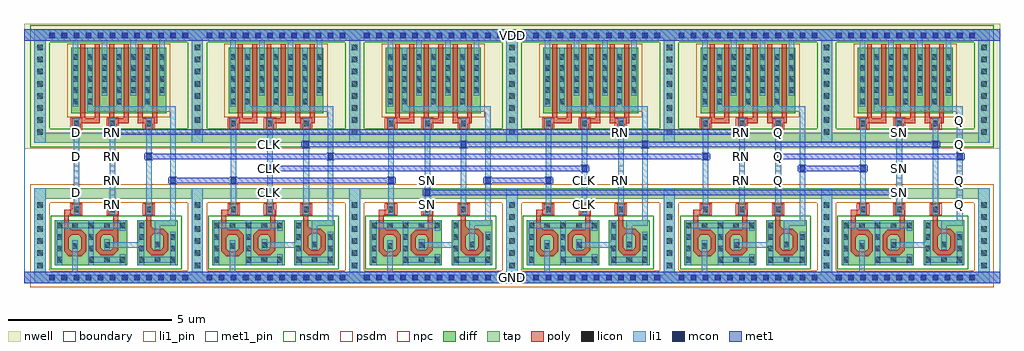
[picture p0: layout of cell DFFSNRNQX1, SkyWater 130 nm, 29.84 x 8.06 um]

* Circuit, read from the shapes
.subckt DFFSNRNQX1 CLK D GND Q RN SN VDD
XM1 n1 D GND GND sky130_fd_pr__nfet_01v8 w=2.6 l=0.1471
XM2 n1 RN n2 GND sky130_fd_pr__nfet_01v8 w=2.52 l=0.1477
XM3 n2 n3 n4 GND sky130_fd_pr__nfet_01v8 w=2.56 l=0.1472
XM4 n5 n4 GND GND sky130_fd_pr__nfet_01v8 w=2.6 l=0.1481
XM5 n5 CLK n6 GND sky130_fd_pr__nfet_01v8 w=2.52 l=0.1477
XM6 n6 n7 n3 GND sky130_fd_pr__nfet_01v8 w=2.56 l=0.147
XM7 n8 n4 GND GND sky130_fd_pr__nfet_01v8 w=2.6 l=0.1474
XM8 n8 SN n9 GND sky130_fd_pr__nfet_01v8 w=2.52 l=0.1477
XM9 n9 n7 n10 GND sky130_fd_pr__nfet_01v8 w=2.56 l=0.1472
XM10 n11 n10 GND GND sky130_fd_pr__nfet_01v8 w=2.6 l=0.1475
XM11 n11 CLK n12 GND sky130_fd_pr__nfet_01v8 w=2.52 l=0.1477
XM12 n12 RN n7 GND sky130_fd_pr__nfet_01v8 w=2.56 l=0.1472
XM13 n13 n3 GND GND sky130_fd_pr__nfet_01v8 w=2.6 l=0.1475
XM14 n13 RN n14 GND sky130_fd_pr__nfet_01v8 w=2.52 l=0.1477
XM15 n14 Q n15 GND sky130_fd_pr__nfet_01v8 w=2.56 l=0.1472
XM16 n16 n15 GND GND sky130_fd_pr__nfet_01v8 w=2.6 l=0.148
XM17 n16 SN n17 GND sky130_fd_pr__nfet_01v8 w=2.52 l=0.1477
XM18 n17 n7 Q GND sky130_fd_pr__nfet_01v8 w=2.56 l=0.1472
XM19 n4 D VDD VDD sky130_fd_pr__pfet_01v8 w=2 l=0.15 m=2
XM20 n4 RN VDD VDD sky130_fd_pr__pfet_01v8 w=2 l=0.15 m=2
XM21 n4 n3 VDD VDD sky130_fd_pr__pfet_01v8 w=2 l=0.15 m=2
XM22 n3 n4 VDD VDD sky130_fd_pr__pfet_01v8 w=2 l=0.15 m=2
XM23 n3 CLK VDD VDD sky130_fd_pr__pfet_01v8 w=2 l=0.15 m=2
XM24 n3 n7 VDD VDD sky130_fd_pr__pfet_01v8 w=2 l=0.15 m=2
XM25 n10 n4 VDD VDD sky130_fd_pr__pfet_01v8 w=2 l=0.15 m=2
XM26 n10 SN VDD VDD sky130_fd_pr__pfet_01v8 w=2 l=0.15 m=2
XM27 n10 n7 VDD VDD sky130_fd_pr__pfet_01v8 w=2 l=0.15 m=2
XM28 n7 n10 VDD VDD sky130_fd_pr__pfet_01v8 w=2 l=0.15 m=2
XM29 n7 CLK VDD VDD sky130_fd_pr__pfet_01v8 w=2 l=0.15 m=2
XM30 n7 RN VDD VDD sky130_fd_pr__pfet_01v8 w=2 l=0.15 m=2
XM31 n15 n3 VDD VDD sky130_fd_pr__pfet_01v8 w=2 l=0.15 m=2
XM32 n15 RN VDD VDD sky130_fd_pr__pfet_01v8 w=2 l=0.15 m=2
XM33 n15 Q VDD VDD sky130_fd_pr__pfet_01v8 w=2 l=0.15 m=2
XM34 Q n15 VDD VDD sky130_fd_pr__pfet_01v8 w=2 l=0.15 m=2
XM35 Q SN VDD VDD sky130_fd_pr__pfet_01v8 w=2 l=0.15 m=2
XM36 Q n7 VDD VDD sky130_fd_pr__pfet_01v8 w=2 l=0.15 m=2
.ends

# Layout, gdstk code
from math import pi, radians
import gdstk
lib = gdstk.Library(unit=1e-6, precision=1e-09)
def R(c, l, rs):  # rectangles x0, y0, x1, y1
    for r in rs: c.add(gdstk.rectangle(r[:2], r[2:], *l))
def A(c, l, x, y, w, h, nx, ny, dx, dy):  # array of equal rectangles
    R(c, l, [(x+i*dx, y+j*dy, x+i*dx+w, y+j*dy+h) for i in range(nx) for j in range(ny)])
def P(c, l, *ps):  # polygons
    for p in ps: c.add(gdstk.Polygon(p, *l))
nwell = (64, 20)
diff = (65, 20)
tap = (65, 44)
poly = (66, 20)
licon = (66, 44)
li1_pin = (67, 16)
li1 = (67, 20)
mcon = (67, 44)
met1_pin = (68, 16)
met1 = (68, 20)
nsdm = (93, 44)
psdm = (94, 20)
npc = (95, 20)
boundary = (235, 4)

li1_m1_contact = lib.new_cell('li1_M1_contact')
R(li1_m1_contact, li1, [(-0.085,-0.165,0.085,0.165)])
R(li1_m1_contact, mcon, [(-0.085,-0.085,0.085,0.085)])
R(li1_m1_contact, met1, [(-0.115,-0.115,0.115,-0.085), (-0.265,-0.085,0.145,0.085), (-0.115,0.085,0.115,0.115)])

diff_ring_side = lib.new_cell('diff_ring_side')
R(diff_ring_side, nwell, [(-0.435,3.93,0.435,7.75)])
R(diff_ring_side, tap, [(-0.17,-0.17,0.17,2.72), (-0.17,4.11,0.17,7.57)])
A(diff_ring_side, licon, -0.085, 0.285, 0.17, 0.17, 1, 6, 0, 0.37)
A(diff_ring_side, licon, -0.085, 4.355, 0.17, 0.17, 1, 8, 0, 0.37)
R(diff_ring_side, li1, [(-0.17,-0.17,0.17,2.72), (-0.17,4.11,0.17,7.57)])
R(diff_ring_side, met1, [(-0.17,-0.17,0.17,0.17), (-0.17,7.23,0.17,7.57)])
R(diff_ring_side, nsdm, [(-0.295,3.985,0.295,7.695)])
R(diff_ring_side, psdm, [(-0.295,-0.295,0.295,2.845)])

nmos_bottom = lib.new_cell('nmos_bottom')
R(nmos_bottom, diff, [(0,0,1.24,1.38)])
R(nmos_bottom, poly, [(0.43,0.27,0.81,0.42), (0.28,0.42,0.43,0.925), (0.81,0.42,0.96,0.925), (0.43,0.925,0.96,1.075), (0.81,1.075,0.96,1.51)])
P(nmos_bottom, poly, [(0.73,1.075),(0.81,1.075),(0.81,1.155)],
  [(0.28,0.925),(0.43,0.925),(0.43,1.075)],
  [(0.43,0.845),(0.43,0.925),(0.51,0.925)],
  [(0.73,0.925),(0.81,0.925),(0.81,0.845)],
  [(0.43,0.5),(0.43,0.42),(0.51,0.42)],
  [(0.73,0.42),(0.81,0.42),(0.81,0.5)],
  [(0.28,0.42),(0.43,0.42),(0.43,0.27)],
  [(0.81,0.27),(0.81,0.42),(0.96,0.42)])
A(nmos_bottom, licon, 0.05, 1.13, 0.17, 0.17, 3, 1, 0.485, 0)
R(nmos_bottom, licon, [(0.05,0.08,0.22,0.25), (1.02,0.08,1.19,0.25), (0.05,0.43,0.22,0.6), (1.02,0.43,1.19,0.6), (0.535,0.505,0.705,0.675), (0.05,0.77,0.22,0.94), (1.02,0.77,1.19,0.94)])
R(nmos_bottom, li1, [(0.05,0,0.22,1.13), (1.02,0,1.19,1.13), (0.535,0.425,0.705,0.755), (0.05,1.13,1.19,1.3), (0.05,1.3,0.22,1.38), (1.02,1.3,1.19,1.38)])
R(nmos_bottom, nsdm, [(-0.125,-0.125,1.365,1.505)])

pmos2 = lib.new_cell('pmos2')
R(pmos2, nwell, [(0.26,-2.18,1.76,0.18)])
R(pmos2, diff, [(0.44,-2,1.58,0)])
R(pmos2, poly, [(0.72,-2.305,1.31,-2.155), (0.72,-2.155,0.87,0.13), (1.16,-2.155,1.31,0.13)])
A(pmos2, licon, 0.49, -1.38, 0.17, 0.17, 3, 4, 0.44, 0.34)
R(pmos2, li1, [(0.49,-1.465,0.66,0.21), (0.93,-1.465,1.1,0), (1.37,-1.465,1.54,0.21)])
R(pmos2, psdm, [(0.315,-2.125,1.705,0.125)])

poly_li1_contact = lib.new_cell('poly_li1_contact')
R(poly_li1_contact, poly, [(-0.16,-0.14,0.17,0.13)])
R(poly_li1_contact, licon, [(-0.08,-0.09,0.09,0.08)])
R(poly_li1_contact, li1, [(-0.16,-0.09,0.17,0.08)])
R(poly_li1_contact, npc, [(-0.18,-0.19,0.19,0.18)])

nmos_side_left = lib.new_cell('nmos_side_left')
R(nmos_side_left, diff, [(0,0,1.24,1.38)])
R(nmos_side_left, poly, [(0.435,0.305,0.81,0.455), (0.285,0.455,0.435,0.925), (0.81,0.455,0.96,0.925), (0.435,0.925,0.96,1.075), (0.81,1.075,0.96,1.51)])
P(nmos_side_left, poly, [(0.285,0.925),(0.435,0.925),(0.435,1.075)],
  [(0.435,0.845),(0.435,0.925),(0.515,0.925)],
  [(0.73,0.925),(0.81,0.925),(0.81,0.845)],
  [(0.435,0.535),(0.435,0.455),(0.515,0.455)],
  [(0.73,0.455),(0.81,0.455),(0.81,0.535)],
  [(0.285,0.455),(0.435,0.455),(0.435,0.305)],
  [(0.81,0.305),(0.81,0.455),(0.96,0.455)])
A(nmos_side_left, licon, 0.05, 0.08, 0.17, 0.17, 3, 2, 0.485, 1.05)
R(nmos_side_left, licon, [(0.05,0.43,0.22,0.6), (0.54,0.535,0.71,0.705), (0.05,0.77,0.22,0.94)])
R(nmos_side_left, li1, [(0.05,0,0.22,0.08), (1.02,0,1.19,0.08), (0.05,0.08,1.19,0.25), (0.05,0.25,0.22,1.13), (1.02,0.25,1.19,0.33), (0.54,0.455,0.71,0.785), (1.02,1.05,1.19,1.13), (0.05,1.13,1.19,1.3), (0.05,1.3,0.22,1.38), (1.02,1.3,1.19,1.38)])
R(nmos_side_left, nsdm, [(-0.125,-0.125,1.365,1.505)])

nmos_top_trim1 = lib.new_cell('nmos_top_trim1')
R(nmos_top_trim1, diff, [(0,0,1.24,1.38)])
R(nmos_top_trim1, poly, [(0.43,0.31,0.81,0.46), (0.28,0.46,0.43,0.965), (0.81,0.46,0.96,0.965), (0.43,0.965,0.96,1.115), (0.81,1.115,0.96,1.545)])
P(nmos_top_trim1, poly, [(0.73,1.115),(0.81,1.115),(0.81,1.195)],
  [(0.28,0.965),(0.43,0.965),(0.43,1.115)],
  [(0.43,0.885),(0.43,0.965),(0.51,0.965)],
  [(0.73,0.965),(0.81,0.965),(0.81,0.885)],
  [(0.43,0.54),(0.43,0.46),(0.51,0.46)],
  [(0.73,0.46),(0.81,0.46),(0.81,0.54)],
  [(0.28,0.46),(0.43,0.46),(0.43,0.31)],
  [(0.81,0.31),(0.81,0.46),(0.96,0.46)])
A(nmos_top_trim1, licon, 0.05, 0.08, 0.17, 0.17, 3, 1, 0.485, 0)
R(nmos_top_trim1, licon, [(0.05,0.43,0.22,0.6), (1.02,0.43,1.19,0.6), (0.535,0.55,0.705,0.72), (0.05,0.77,0.22,0.94), (1.02,0.77,1.19,0.94), (1.02,1.13,1.19,1.3)])
R(nmos_top_trim1, li1, [(0.05,0,0.22,0.08), (1.02,0,1.19,0.08), (0.05,0.08,1.19,0.25), (0.05,0.25,0.22,1.02), (1.02,0.25,1.19,1.38), (0.535,0.47,0.705,0.805)])
R(nmos_top_trim1, nsdm, [(-0.125,-0.125,1.365,1.505)])

nand3x1_pcell = lib.new_cell('nand3x1_pcell')
R(nand3x1_pcell, nwell, [(0.435,3.93,4.375,5.28), (0.435,5.28,1.1,5.295), (1.395,5.28,4.375,5.495), (0.435,5.295,1.025,5.465), (1.145,5.295,1.315,5.465), (0.435,5.465,1.1,5.495), (0.435,5.495,4.375,7.75)])
A(nand3x1_pcell, diff, 1.445, 5.295, 0.17, 0.17, 3, 1, 0.88, 0)
R(nand3x1_pcell, diff, [(1.005,5.295,1.175,5.465)])
R(nand3x1_pcell, tap, [(0.17,-0.17,4.64,0.085), (0.17,2.41,4.64,2.72), (0.17,4.11,4.64,4.42), (0.17,7.315,4.64,7.57)])
R(nand3x1_pcell, poly, [(0.735,1.885,0.885,1.915), (2.235,1.885,2.385,1.915), (0.735,1.915,0.975,2.065), (2.355,1.915,2.385,2.065)])
A(nand3x1_pcell, licon, 0.285, -0.085, 0.17, 0.17, 12, 2, 0.37, 7.4)
A(nand3x1_pcell, licon, 1.445, 5.295, 0.17, 0.17, 3, 1, 0.88, 0)
R(nand3x1_pcell, licon, [(1.005,5.295,1.175,5.465)])
A(nand3x1_pcell, li1, 1.445, 5.24, 0.17, 0.315, 3, 1, 0.88, 0)
R(nand3x1_pcell, li1, [(0.17,-0.17,4.64,0.17), (0.99,0.17,1.16,0.835), (1.965,0.91,3.015,1.08), (3.5,1.175,3.67,1.58), (3.5,1.58,4.155,1.75), (3.985,1.75,4.155,5.07), (1.025,2.165,1.195,4.54), (2.135,2.165,2.305,4.54), (3.245,2.245,3.415,4.7), (1.445,5.07,4.155,5.24), (1.005,5.215,1.175,5.58), (0.17,7.23,4.64,7.57)])
A(nand3x1_pcell, mcon, 0.285, -0.085, 0.17, 0.17, 12, 2, 0.37, 7.4)
R(nand3x1_pcell, met1, [(0.17,-0.17,4.64,0.17), (0.17,7.23,4.64,7.57)])
R(nand3x1_pcell, nsdm, [(2.79,0.25,2.84,1.88), (0.045,3.985,4.765,4.545), (0.045,7.19,4.765,7.695)])
R(nand3x1_pcell, psdm, [(0.045,-0.295,4.765,0.21), (0.045,2.285,4.765,2.845), (0.88,5.17,1.74,5.59), (2.2,5.17,2.62,5.59), (3.08,5.17,3.5,5.59)])
nand3x1_pcell.add(gdstk.Reference(diff_ring_side, (0,0)))
nand3x1_pcell.add(gdstk.Reference(nmos_bottom, (1.695,0.375), rotation=pi, x_reflection=True))
nand3x1_pcell.add(gdstk.Reference(pmos2, (0.515,7.02)))
nand3x1_pcell.add(gdstk.Reference(poly_li1_contact, (1.115,4.705), rotation=3*pi/2))
nand3x1_pcell.add(gdstk.Reference(poly_li1_contact, (1.105,2.075), rotation=pi/2))
nand3x1_pcell.add(gdstk.Reference(nmos_side_left, (1.425,0.375)))
nand3x1_pcell.add(gdstk.Reference(pmos2, (1.395,7.02)))
nand3x1_pcell.add(gdstk.Reference(pmos2, (2.275,7.02)))
nand3x1_pcell.add(gdstk.Reference(poly_li1_contact, (2.215,2.075), rotation=pi/2))
nand3x1_pcell.add(gdstk.Reference(poly_li1_contact, (2.215,4.695), rotation=pi/2))
nand3x1_pcell.add(gdstk.Reference(nmos_top_trim1, (4.205,0.375), rotation=pi, x_reflection=True))
nand3x1_pcell.add(gdstk.Reference(poly_li1_contact, (3.325,2.075), rotation=pi/2))
nand3x1_pcell.add(gdstk.Reference(poly_li1_contact, (3.335,4.705), rotation=3*pi/2))
nand3x1_pcell.add(gdstk.Reference(diff_ring_side, (4.81,0)))

dffsnrnqx1 = lib.new_cell('DFFSNRNQX1')
R(dffsnrnqx1, nwell, [(0,4.11,29.84,7.94)])
R(dffsnrnqx1, tap, [(0.32,0,29.52,0.065), (0.32,7.75,29.52,7.76)])
A(dffsnrnqx1, li1_pin, 28.525, 2.315, 0.17, 0.17, 1, 8, 0, 0.37)
A(dffsnrnqx1, li1_pin, 1.515, 2.685, 0.17, 0.17, 1, 6, 0, 0.37)
A(dffsnrnqx1, li1_pin, 2.625, 2.685, 0.17, 0.17, 3, 1, 4.81, 0)
A(dffsnrnqx1, li1_pin, 26.675, 2.685, 0.17, 0.17, 1, 3, 0, 0.37)
A(dffsnrnqx1, li1_pin, 2.625, 3.055, 0.17, 0.17, 1, 5, 0, 0.37)
A(dffsnrnqx1, li1_pin, 21.865, 3.055, 0.17, 0.17, 1, 3, 0, 0.37)
A(dffsnrnqx1, li1_pin, 22.975, 3.055, 0.17, 0.17, 1, 3, 0, 0.37)
R(dffsnrnqx1, li1_pin, [(2.625,2.315,2.795,2.485), (12.245,2.315,12.415,2.485), (17.055,2.315,17.225,2.485), (12.245,3.055,12.415,3.225), (17.055,3.055,17.225,3.225), (18.165,3.055,18.335,3.225), (7.435,3.425,7.605,3.595), (17.055,3.425,17.225,3.595), (18.165,3.425,18.335,3.595), (7.435,4.165,7.605,4.335), (18.165,4.535,18.335,4.705), (21.865,4.535,22.035,4.705), (22.975,4.535,23.145,4.705), (26.675,4.535,26.845,4.705)])
A(dffsnrnqx1, li1, 28.525, 2.315, 0.17, 0.17, 1, 8, 0, 0.37)
A(dffsnrnqx1, li1, 1.515, 2.685, 0.17, 0.17, 1, 6, 0, 0.37)
A(dffsnrnqx1, li1, 2.625, 2.685, 0.17, 0.17, 3, 1, 4.81, 0)
A(dffsnrnqx1, li1, 26.675, 2.685, 0.17, 0.17, 1, 3, 0, 0.37)
A(dffsnrnqx1, li1, 2.625, 3.055, 0.17, 0.17, 1, 5, 0, 0.37)
A(dffsnrnqx1, li1, 21.865, 3.055, 0.17, 0.17, 1, 3, 0, 0.37)
A(dffsnrnqx1, li1, 22.975, 3.055, 0.17, 0.17, 1, 3, 0, 0.37)
R(dffsnrnqx1, li1, [(0,0,29.84,0.085), (0,0.085,0.325,0.35), (29.515,0.085,29.84,0.35), (2.625,2.315,2.795,2.485), (12.245,2.315,12.415,2.485), (17.055,2.315,17.225,2.485), (12.245,3.055,12.415,3.225), (17.055,3.055,17.225,3.225), (18.165,3.055,18.335,3.225), (7.435,3.425,7.605,3.595), (17.055,3.425,17.225,3.595), (18.165,3.425,18.335,3.595), (7.435,4.165,7.605,4.335), (18.165,4.535,18.335,4.705), (21.865,4.535,22.035,4.705), (22.975,4.535,23.145,4.705), (26.675,4.535,26.845,4.705), (0,7.41,0.345,7.675), (29.44,7.41,29.84,7.675), (0,7.675,29.84,7.76)])
R(dffsnrnqx1, met1_pin, [(0,0,29.84,0.35), (0,7.41,29.84,7.76)])
R(dffsnrnqx1, met1, [(0,0,29.84,0.35), (12.595,2.685,26.54,2.855), (14.275,3.055,15.765,3.225), (4.645,3.06,11.36,3.23), (7.785,3.425,16.945,3.595), (23.715,3.425,25.435,3.595), (4.07,3.795,20.61,3.965), (23.145,3.795,28.345,3.965), (8.79,4.165,27.94,4.335), (2.975,4.535,21.815,4.705), (0,7.41,29.84,7.76)])
R(dffsnrnqx1, nsdm, [(0.195,7.625,29.645,7.885)])
R(dffsnrnqx1, psdm, [(0.195,-0.125,29.645,0.19)])
R(dffsnrnqx1, boundary, [(0,0,29.84,7.76)])
dffsnrnqx1.add(gdstk.Reference(li1_m1_contact, (3.82,3.88), rotation=pi))
dffsnrnqx1.add(gdstk.Reference(li1_m1_contact, (2.71,4.62), rotation=pi))
dffsnrnqx1.add(gdstk.Reference(li1_m1_contact, (4.56,3.145), rotation=pi))
dffsnrnqx1.add(gdstk.Reference(nand3x1_pcell, (0.49,0.18)))
dffsnrnqx1.add(gdstk.Reference(nand3x1_pcell, (5.3,0.18)))
dffsnrnqx1.add(gdstk.Reference(li1_m1_contact, (8.625,4.25), rotation=pi))
dffsnrnqx1.add(gdstk.Reference(li1_m1_contact, (6.41,3.145), rotation=pi))
dffsnrnqx1.add(gdstk.Reference(li1_m1_contact, (7.52,3.51), rotation=pi))
dffsnrnqx1.add(gdstk.Reference(li1_m1_contact, (9.37,3.88), rotation=pi))
dffsnrnqx1.add(gdstk.Reference(li1_m1_contact, (11.22,3.145)))
dffsnrnqx1.add(gdstk.Reference(nand3x1_pcell, (10.11,0.18)))
dffsnrnqx1.add(gdstk.Reference(li1_m1_contact, (13.44,4.25)))
dffsnrnqx1.add(gdstk.Reference(li1_m1_contact, (12.33,2.77), rotation=pi))
dffsnrnqx1.add(gdstk.Reference(li1_m1_contact, (14.18,3.14), rotation=pi))
dffsnrnqx1.add(gdstk.Reference(li1_m1_contact, (17.14,3.51)))
dffsnrnqx1.add(gdstk.Reference(li1_m1_contact, (16.03,3.14)))
dffsnrnqx1.add(gdstk.Reference(nand3x1_pcell, (14.92,0.18)))
dffsnrnqx1.add(gdstk.Reference(li1_m1_contact, (18.25,4.62), rotation=pi))
dffsnrnqx1.add(gdstk.Reference(li1_m1_contact, (18.99,4.25), rotation=pi))
dffsnrnqx1.add(gdstk.Reference(li1_m1_contact, (21.95,4.62)))
dffsnrnqx1.add(gdstk.Reference(li1_m1_contact, (20.84,3.88)))
dffsnrnqx1.add(gdstk.Reference(nand3x1_pcell, (19.73,0.18)))
dffsnrnqx1.add(gdstk.Reference(li1_m1_contact, (23.06,3.88), rotation=pi))
dffsnrnqx1.add(gdstk.Reference(li1_m1_contact, (23.8,3.51), rotation=pi))
dffsnrnqx1.add(gdstk.Reference(li1_m1_contact, (27.87,4.25)))
dffsnrnqx1.add(gdstk.Reference(li1_m1_contact, (25.65,3.51)))
dffsnrnqx1.add(gdstk.Reference(li1_m1_contact, (26.76,2.77)))
dffsnrnqx1.add(gdstk.Reference(li1_m1_contact, (28.61,3.88)))
dffsnrnqx1.add(gdstk.Reference(nand3x1_pcell, (24.54,0.18)))
dffsnrnqx1.add(gdstk.Label('Q', (23.06,3.14), layer=67, texttype=5))
dffsnrnqx1.add(gdstk.Label('Q', (23.06,3.51), layer=67, texttype=5))
dffsnrnqx1.add(gdstk.Label('Q', (23.06,3.88), layer=67, texttype=5))
dffsnrnqx1.add(gdstk.Label('Q', (23.06,4.62), layer=67, texttype=5))
dffsnrnqx1.add(gdstk.Label('Q', (28.61,2.4), layer=67, texttype=5))
dffsnrnqx1.add(gdstk.Label('Q', (28.61,2.77), layer=67, texttype=5))
dffsnrnqx1.add(gdstk.Label('Q', (28.61,3.14), layer=67, texttype=5))
dffsnrnqx1.add(gdstk.Label('Q', (28.61,3.51), layer=67, texttype=5))
dffsnrnqx1.add(gdstk.Label('Q', (28.61,4.99), layer=67, texttype=5))
dffsnrnqx1.add(gdstk.Label('Q', (28.61,4.62), layer=67, texttype=5))
dffsnrnqx1.add(gdstk.Label('Q', (28.61,4.25), layer=67, texttype=5))
dffsnrnqx1.add(gdstk.Label('Q', (28.61,3.88), layer=67, texttype=5))
dffsnrnqx1.add(gdstk.Label('D', (1.6,4.62), layer=67, texttype=5))
dffsnrnqx1.add(gdstk.Label('D', (1.6,4.25), layer=67, texttype=5))
dffsnrnqx1.add(gdstk.Label('D', (1.6,3.88), layer=67, texttype=5))
dffsnrnqx1.add(gdstk.Label('D', (1.6,3.51), layer=67, texttype=5))
dffsnrnqx1.add(gdstk.Label('D', (1.6,2.77), layer=67, texttype=5))
dffsnrnqx1.add(gdstk.Label('D', (1.6,3.14), layer=67, texttype=5))
dffsnrnqx1.add(gdstk.Label('CLK', (17.14,2.4), layer=67, texttype=5))
dffsnrnqx1.add(gdstk.Label('CLK', (17.14,3.14), layer=67, texttype=5))
dffsnrnqx1.add(gdstk.Label('CLK', (17.14,3.51), layer=67, texttype=5))
dffsnrnqx1.add(gdstk.Label('CLK', (7.52,4.25), layer=67, texttype=5))
dffsnrnqx1.add(gdstk.Label('CLK', (7.52,2.77), layer=67, texttype=5))
dffsnrnqx1.add(gdstk.Label('CLK', (7.52,3.51), layer=67, texttype=5))
dffsnrnqx1.add(gdstk.Label('SN', (12.33,2.4), layer=67, texttype=5))
dffsnrnqx1.add(gdstk.Label('SN', (26.76,4.62), layer=67, texttype=5))
dffsnrnqx1.add(gdstk.Label('SN', (26.76,3.51), layer=67, texttype=5))
dffsnrnqx1.add(gdstk.Label('SN', (26.76,3.14), layer=67, texttype=5))
dffsnrnqx1.add(gdstk.Label('SN', (26.76,2.77), layer=67, texttype=5))
dffsnrnqx1.add(gdstk.Label('SN', (12.33,3.14), layer=67, texttype=5))
dffsnrnqx1.add(gdstk.Label('SN', (12.33,2.77), layer=67, texttype=5))
dffsnrnqx1.add(gdstk.Label('RN', (21.95,4.62), layer=67, texttype=5))
dffsnrnqx1.add(gdstk.Label('RN', (21.95,3.88), layer=67, texttype=5))
dffsnrnqx1.add(gdstk.Label('RN', (21.95,3.51), layer=67, texttype=5))
dffsnrnqx1.add(gdstk.Label('RN', (21.95,3.14), layer=67, texttype=5))
dffsnrnqx1.add(gdstk.Label('RN', (18.25,4.62), layer=67, texttype=5))
dffsnrnqx1.add(gdstk.Label('RN', (18.25,3.14), layer=67, texttype=5))
dffsnrnqx1.add(gdstk.Label('RN', (18.25,3.51), layer=67, texttype=5))
dffsnrnqx1.add(gdstk.Label('RN', (2.71,2.4), layer=67, texttype=5))
dffsnrnqx1.add(gdstk.Label('RN', (2.71,2.77), layer=67, texttype=5))
dffsnrnqx1.add(gdstk.Label('RN', (2.71,3.14), layer=67, texttype=5))
dffsnrnqx1.add(gdstk.Label('RN', (2.71,3.51), layer=67, texttype=5))
dffsnrnqx1.add(gdstk.Label('RN', (2.71,3.88), layer=67, texttype=5))
dffsnrnqx1.add(gdstk.Label('RN', (2.71,4.25), layer=67, texttype=5))
dffsnrnqx1.add(gdstk.Label('RN', (2.71,4.62), layer=67, texttype=5))
dffsnrnqx1.add(gdstk.Label('VDD', (14.92,7.585), layer=68, texttype=5))
dffsnrnqx1.add(gdstk.Label('GND', (14.92,0.175), layer=68, texttype=5))

lib.write_gds('DFFSNRNQX1.gds')
